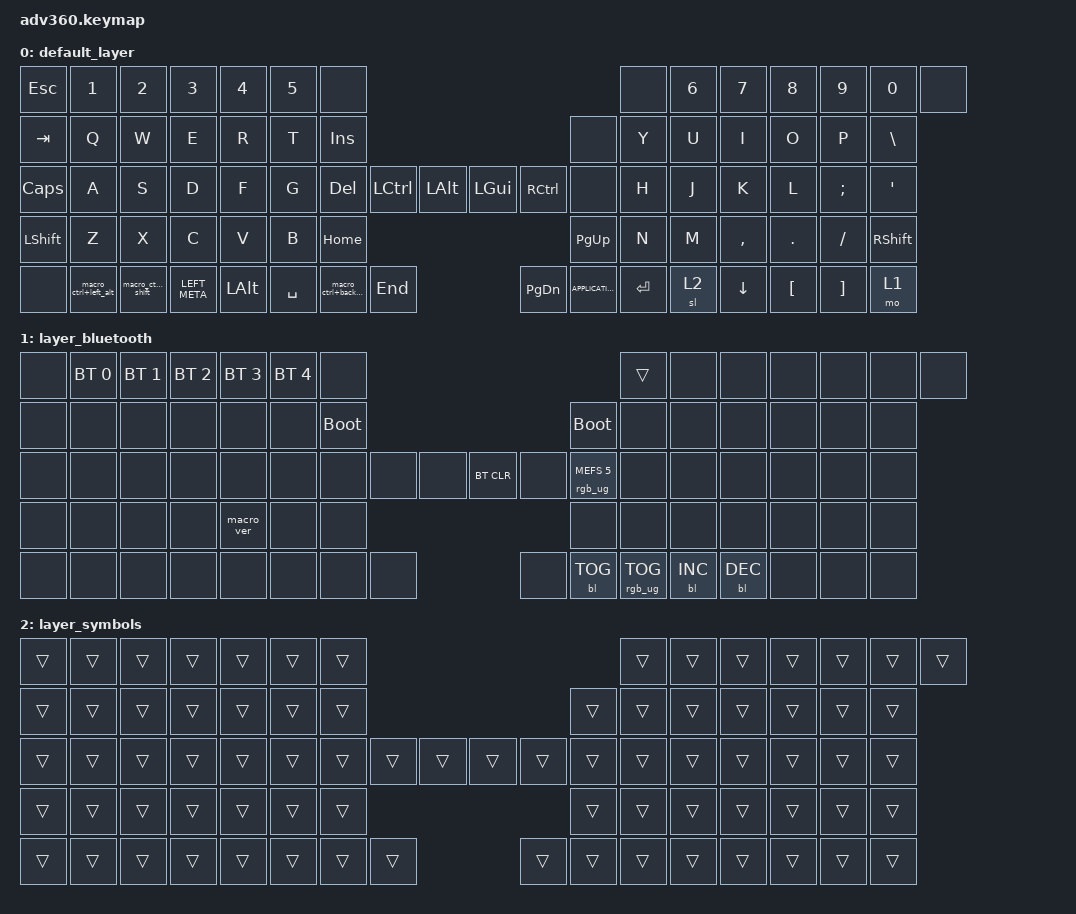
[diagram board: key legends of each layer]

/*
 * Copyright (c) 2020 The ZMK Contributors
 *
 * SPDX-License-Identifier: MIT
 */


/* THIS FILE WAS GENERATED!
 *
 * This file was generated automatically. You may or may not want to
 * edit it directly.
 */

#include <behaviors.dtsi>
#include <dt-bindings/zmk/keys.h>
#include <dt-bindings/zmk/bt.h>
#include <dt-bindings/zmk/rgb.h>
#include <dt-bindings/zmk/backlight.h>

/ {
  behaviors {
    #include "macros.dtsi"
    #include "version.dtsi"

    hm: homerow_mods {
        compatible = "zmk,behavior-hold-tap";
        label = "HOMEROW_MODS";
        #binding-cells = <2>;
        tapping-term-ms = <200>;
        quick_tap_ms = <175>;
        flavor = "tap-preferred";
        bindings = <&kp>, <&kp>;
    };
  };

    keymap {
        compatible = "zmk,keymap";


        default_layer {
            bindings = <
   &kp ESC                &kp N1                  &kp N2         &kp N3        &kp N4  &kp N5                 &none                                                                                     &none  &kp N6  &kp N7     &kp N8    &kp N9    &kp N0      &none
   &kp TAB                 &kp Q                   &kp W          &kp E         &kp R   &kp T            &kp INSERT                                                                                     &none   &kp Y   &kp U      &kp I     &kp O     &kp P   &kp BSLH
  &kp CAPS                 &kp A                   &kp S          &kp D         &kp F   &kp G            &kp DELETE              &kp LCTRL  &kp LALT                   &kp LGUI          &kp RCTRL      &none   &kp H   &kp J      &kp K     &kp L  &kp SEMI    &kp SQT
 &kp LSHFT                 &kp Z                   &kp X          &kp C         &kp V   &kp B                                               &kp HOME                  &kp PG_UP                                 &kp N   &kp M  &kp COMMA   &kp DOT  &kp FSLH  &kp RSHFT
     &none  &macro_ctrl+left_alt  &macro_ctrl+left_shift  &kp LEFT_META  &kp LEFT_ALT                     &kp SPACE  &macro_ctrl+backspace   &kp END                  &kp PG_DN  &kp K_APPLICATION  &kp ENTER           &sl 2   &kp DOWN  &kp LBKT  &kp RBKT      &mo 1
            >;
        };

        layer_bluetooth {
            bindings = <
  &none  &bt BT_SEL 0  &bt BT_SEL 1  &bt BT_SEL 2  &bt BT_SEL 3  &bt BT_SEL 4                  &none                                                                          &trans   &none       &none       &none   &none   &none   &none
  &none         &none         &none         &none         &none         &none            &bootloader                                                                     &bootloader   &none       &none       &none   &none   &none   &none
  &none         &none         &none         &none         &none         &none                  &none   &none   &none                  &bt BT_CLR       &none  &rgb_ug RGB_MEFS_CMD 5   &none       &none       &none   &none   &none   &none
  &none         &none         &none         &none    &macro_ver         &none                                  &none                       &none                                       &none       &none       &none   &none   &none   &none
  &none         &none         &none         &none         &none                                &none   &none   &none                       &none  &bl BL_TOG         &rgb_ug RGB_TOG          &bl BL_INC  &bl BL_DEC   &none   &none   &none
            >;
        };

        layer_symbols {
            bindings = <
 &trans  &trans  &trans  &trans  &trans  &trans            &trans                                                  &trans  &trans  &trans  &trans  &trans  &trans  &trans
 &trans  &trans  &trans  &trans  &trans  &trans            &trans                                                  &trans  &trans  &trans  &trans  &trans  &trans  &trans
 &trans  &trans  &trans  &trans  &trans  &trans            &trans  &trans  &trans                  &trans  &trans  &trans  &trans  &trans  &trans  &trans  &trans  &trans
 &trans  &trans  &trans  &trans  &trans  &trans                            &trans                  &trans                  &trans  &trans  &trans  &trans  &trans  &trans
 &trans  &trans  &trans  &trans  &trans                    &trans  &trans  &trans                  &trans  &trans  &trans          &trans  &trans  &trans  &trans  &trans
            >;
        };

    };
};
